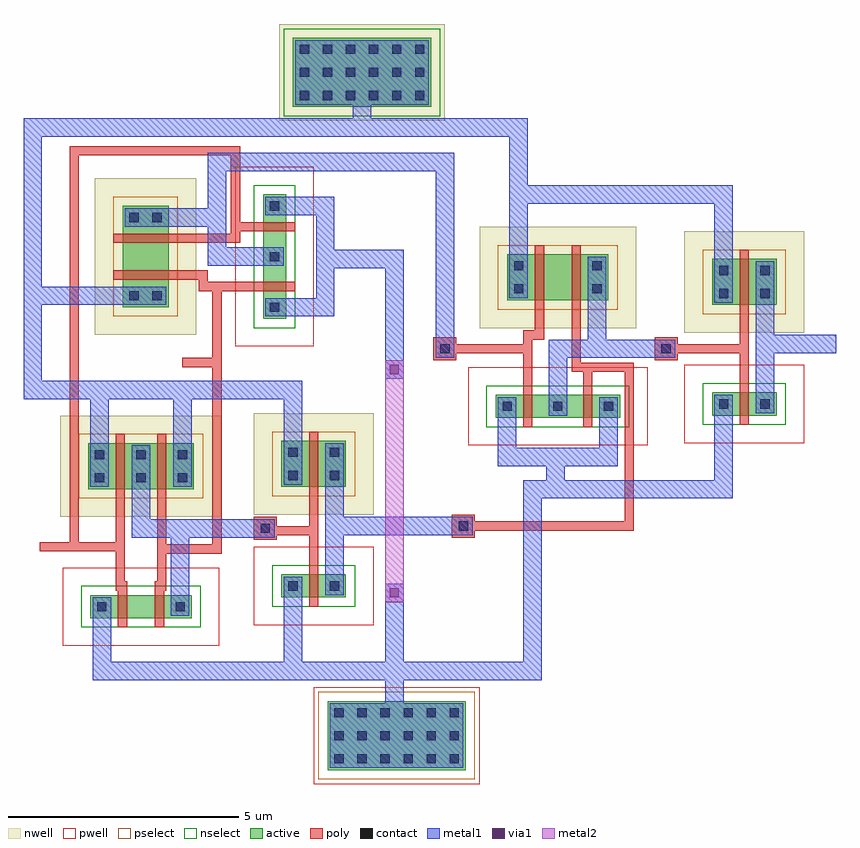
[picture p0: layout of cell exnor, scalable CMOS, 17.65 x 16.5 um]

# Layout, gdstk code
from math import pi, radians
import gdstk
lib = gdstk.Library(unit=1e-6, precision=1e-09)
def R(c, l, rs):  # rectangles x0, y0, x1, y1
    for r in rs: c.add(gdstk.rectangle(r[:2], r[2:], *l))
def A(c, l, x, y, w, h, nx, ny, dx, dy):  # array of equal rectangles
    R(c, l, [(x+i*dx, y+j*dy, x+i*dx+w, y+j*dy+h) for i in range(nx) for j in range(ny)])
contact = (25, 0)
pwell = (41, 0)
nwell = (42, 0)
active = (43, 0)
pselect = (44, 0)
nselect = (45, 0)
poly = (46, 0)
metal1 = (49, 0)
via1 = (50, 0)
metal2 = (51, 0)

inv = lib.new_cell('Inv')
R(inv, contact, [(-0.55,-2.1,-0.35,-1.9), (0.35,-2.1,0.55,-1.9), (-0.55,0.3,-0.35,0.5), (0.35,0.3,0.55,0.5), (-0.55,0.8,-0.35,1), (0.35,0.8,0.55,1)])
R(inv, pwell, [(-1.3,-2.85,0.4,-1.15), (-1,-2.85,1,-1.15), (-0.4,-2.85,1.3,-1.15), (-1.2,-2.75,0.375,-1.25), (-0.375,-2.75,1.2,-1.25)])
R(inv, nwell, [(-1.3,-0.45,0.4,1.75), (-1,-0.45,1,1.75), (-0.4,-0.45,1.3,1.75), (-1.2,-0.1,0.375,1.4), (-0.375,-0.1,1.2,1.4)])
R(inv, active, [(-0.7,-2.25,-0.2,-1.75), (-0.4,-2.25,0.4,-1.75), (0.2,-2.25,0.7,-1.75), (-0.6,-2.15,-0.225,-1.85), (0.225,-2.15,0.6,-1.85), (-0.7,0.15,-0.2,1.15), (-0.4,0.15,0.4,1.15), (0.2,0.15,0.7,1.15), (-0.6,0.5,-0.225,0.8), (0.225,0.5,0.6,0.8)])
R(inv, pselect, [(-0.9,-0.05,0,1.35), (-0.6,-0.05,0.6,1.35), (0,-0.05,0.9,1.35), (-0.8,0.3,-0.025,1), (0.025,0.3,0.8,1)])
R(inv, nselect, [(-0.9,-2.45,0,-1.55), (-0.6,-2.45,0.6,-1.55), (0,-2.45,0.9,-1.55), (-0.8,-2.35,-0.025,-1.65), (0.025,-2.35,0.8,-1.65)])
R(inv, poly, [(-0.1,-2.45,0.1,-1.55), (-0.1,-1.65,0.1,-0.7), (-0.9,-0.9,0.1,-0.7), (-0.1,-0.9,0.1,0.05), (-0.1,-0.05,0.1,1.35)])
R(inv, metal1, [(-0.65,-3.35,-0.25,-1.8), (-0.65,-2.2,-0.25,-1.8), (0.25,-2.2,0.65,-1.8), (0.25,-2.2,0.65,-0.5), (0.25,-0.9,0.65,0.85), (0.25,-0.9,1,-0.5), (-0.65,0.2,-0.25,1.1), (0.25,0.2,0.65,1.1), (-0.65,0.45,-0.25,2.1)])

and_ = lib.new_cell('and')
A(and_, contact, -1, 0.65, 0.2, 0.2, 3, 2, 0.9, 0.5)
R(and_, contact, [(-0.95,-2.15,-0.75,-1.95), (0.75,-2.15,0.95,-1.95), (2.6,-0.45,2.8,-0.25)])
R(and_, pwell, [(-1.7,-2.9,0,-1.2), (-1.4,-2.9,0.6,-1.2), (-0.6,-2.9,1.4,-1.2), (0,-2.9,1.7,-1.2), (-0.775,-2.8,0.775,-1.3), (0.025,-2.8,1.65,-1.3), (-1.6,-2.75,-0.025,-1.25)])
A(and_, nwell, -1.75, -0.1, 1.7, 2.2, 3, 1, 0.9, 0)
R(and_, nwell, [(-1.45,-0.1,0.55,2.1), (-0.55,-0.1,1.45,2.1), (-1.65,0.25,-0.075,1.75), (-0.825,0.25,0.8,1.75), (-0.7,0.25,0.825,1.75), (0.075,0.25,1.65,1.75)])
A(and_, active, -1.15, 0.5, 0.5, 1, 3, 1, 0.9, 0)
R(and_, active, [(-1.1,-2.3,-0.6,-1.8), (-0.8,-2.3,0,-1.8), (0,-2.3,0.8,-1.8), (0.6,-2.3,1.1,-1.8), (-0.175,-2.2,0.175,-1.9), (0.625,-2.2,1.05,-1.9), (-1,-2.15,-0.625,-1.85), (-0.85,0.5,-0.05,1.5), (0.05,0.5,0.85,1.5), (-1.05,0.85,-0.675,1.15), (-0.225,0.85,0.2,1.15), (-0.1,0.85,0.225,1.15), (0.675,0.85,1.05,1.15)])
A(and_, pselect, -1.35, 0.3, 0.9, 1.4, 3, 1, 0.9, 0)
R(and_, pselect, [(-1.05,0.3,0.15,1.7), (-0.15,0.3,1.05,1.7), (-1.25,0.65,-0.475,1.35), (-0.425,0.65,0.4,1.35), (-0.3,0.65,0.425,1.35), (0.475,0.65,1.25,1.35)])
R(and_, nselect, [(-1.3,-2.5,-0.4,-1.6), (-1,-2.5,0.2,-1.6), (-0.2,-2.5,1,-1.6), (0.4,-2.5,1.3,-1.6), (-0.375,-2.4,0.375,-1.7), (0.425,-2.4,1.25,-1.7), (-1.2,-2.35,-0.425,-1.65)])
R(and_, poly, [(-0.5,-2.5,-0.3,-1.6), (0.3,-2.5,0.5,-1.6), (-0.55,-1.7,-0.3,-1.5), (-0.55,-1.7,-0.35,-0.65), (0.3,-1.7,0.55,-1.5), (0.35,-1.7,0.55,-0.7), (0.35,-0.9,0.55,0.4), (0.35,-0.9,1.4,-0.7), (-1,-0.85,-0.35,-0.65), (-0.55,-0.85,-0.35,0.4), (2.45,-0.6,2.95,-0.1), (2.55,-0.5,3.05,-0.3), (-0.55,0.3,-0.35,1.7), (0.35,0.3,0.55,1.7)])
A(and_, metal1, -1.1, 0.55, 0.4, 0.9, 3, 1, 0.9, 0)
R(and_, metal1, [(-1.05,-3.65,3.5,-3.25), (-1.05,-3.65,-0.65,-1.85), (3.1,-3.65,3.5,-2.55), (3.1,-3.65,4.05,-3.25), (-1.05,-2.25,-0.65,-1.85), (0.65,-2.25,1.05,-1.85), (0.65,-2.25,1.05,-0.15), (-0.2,-0.55,0.2,1.2), (-0.2,-0.55,1.05,-0.15), (0.65,-0.55,1.7,-0.15), (1.3,-0.55,2.85,-0.15), (2.5,-0.55,2.9,-0.15), (4.35,-0.5,4.9,-0.1), (-1.1,0.8,-0.7,2.85), (0.7,0.8,1.1,2.85), (3.1,2.1,3.5,2.85), (-1.5,2.45,-0.7,2.85), (-1.1,2.45,1.1,2.85), (0.7,2.45,3.5,2.85), (3.1,2.45,3.5,2.85)])
and_.add(gdstk.Reference(inv, (3.75,0.4)))

nor = lib.new_cell('nor')
A(nor, contact, -1.2, -1.9, 0.2, 0.2, 3, 1, 1.1, 0)
R(nor, contact, [(-0.95,0.65,-0.75,0.85), (0.75,0.65,0.95,0.85), (-0.95,1.15,-0.75,1.35), (0.75,1.15,0.95,1.35)])
A(nor, pwell, -1.95, -2.65, 1.7, 1.7, 3, 1, 1.1, 0)
R(nor, pwell, [(-1.65,-2.65,0.35,-0.95), (-0.35,-2.65,1.65,-0.95), (-1.85,-2.55,-0.275,-1.05), (-1.025,-2.55,0.75,-1.05), (-0.75,-2.55,1.025,-1.05), (0.275,-2.55,1.85,-1.05)])
R(nor, nwell, [(-1.7,-0.1,0,2.1), (-1.4,-0.1,0.6,2.1), (-0.6,-0.1,1.4,2.1), (0,-0.1,1.7,2.1), (0.025,0.2,1.65,1.7), (-1.6,0.25,-0.025,1.75), (-0.775,0.25,0.775,1.75)])
A(nor, active, -1.35, -2.05, 0.5, 0.5, 3, 1, 1.1, 0)
R(nor, active, [(-1.05,-2.05,-0.25,-1.55), (0.25,-2.05,1.05,-1.55), (-1.25,-1.95,-0.875,-1.65), (-0.425,-1.95,0.15,-1.65), (-0.15,-1.95,0.425,-1.65), (0.875,-1.95,1.25,-1.65), (-1.1,0.5,-0.6,1.5), (-0.8,0.5,0,1.5), (0,0.5,0.8,1.5), (0.6,0.5,1.1,1.5), (0.625,0.8,1.05,1.1), (-1,0.85,-0.625,1.15), (-0.175,0.85,0.175,1.15)])
R(nor, pselect, [(-1.3,0.3,-0.4,1.7), (-1,0.3,0.2,1.7), (-0.2,0.3,1,1.7), (0.4,0.3,1.3,1.7), (0.425,0.6,1.25,1.3), (-1.2,0.65,-0.425,1.35), (-0.375,0.65,0.375,1.35)])
A(nor, nselect, -1.55, -2.25, 0.9, 0.9, 3, 1, 1.1, 0)
R(nor, nselect, [(-1.25,-2.25,-0.05,-1.35), (0.05,-2.25,1.25,-1.35), (-1.45,-2.15,-0.675,-1.45), (-0.625,-2.15,0.35,-1.45), (-0.35,-2.15,0.625,-1.45), (0.675,-2.15,1.45,-1.45)])
R(nor, poly, [(-0.75,-2.25,-0.55,-1.35), (0.55,-2.25,0.75,-1.35), (-0.75,-1.45,-0.55,-0.45), (0.55,-1.45,0.75,-0.85), (0.3,-1.05,0.5,0.4), (0.3,-1.05,0.75,-0.85), (0.55,-1.05,1.15,-0.85), (-1.2,-0.65,-0.55,-0.45), (-0.75,-0.65,-0.55,-0.15), (-0.75,-0.35,-0.3,-0.15), (-0.5,-0.35,-0.3,0.4), (-0.5,0.3,-0.3,1.7), (0.3,0.3,0.5,1.7)])
A(nor, metal1, -1.3, -2, 0.4, 0.4, 3, 1, 1.1, 0)
R(nor, metal1, [(-0.25,-3.4,0.15,-2.7), (-1.3,-3.1,-0.9,-2.65), (-1.3,-3.1,0.15,-2.7), (-0.25,-3.1,1.3,-2.7), (0.9,-3.1,1.3,-1.6), (-1.3,-3.05,-0.9,-1.6), (-0.2,-2,0.2,-0.35), (-0.2,-0.75,1.05,-0.35), (0.65,-0.75,1.05,-0.35), (0.65,-0.75,1.05,1.2), (0.65,-0.75,1.6,-0.35), (-1.05,0.55,-0.65,1.45), (0.65,0.55,1.05,1.45), (-1.05,0.8,-0.65,2.6)])

c_or = lib.new_cell('or')
R(c_or, contact, [(-0.05,-0.1,0.15,0.1)])
R(c_or, poly, [(-1.35,-0.5,-0.65,-0.3), (-0.2,-0.25,0.3,0.25), (-3.5,-0.1,-3.3,0.1), (-0.05,-0.1,1.05,0.1)])
R(c_or, metal1, [(-3.05,-3.25,-2.15,-2.85), (-2.55,-3.25,-2.15,-2.45), (-2.55,-3.25,1.5,-2.85), (1.1,-3.25,1.5,-2.15), (-1.1,-0.2,0.25,0.2), (-0.15,-0.2,0.25,0.2), (2.35,-0.1,2.8,0.3), (1.1,2.5,1.5,3.55), (-3.35,2.75,-2.95,3.55), (-3.35,3.15,-2.95,3.8), (-3.35,3.15,1.5,3.55)])
c_or.add(gdstk.Reference(inv, (1.75,0.8)))
c_or.add(gdstk.Reference(nor, (-2.3,0.55)))

exnor = lib.new_cell('exnor')
A(exnor, contact, -1.85, -9, 0.2, 0.2, 6, 3, 0.5, 0.5)
A(exnor, contact, -2.6, 5.4, 0.2, 0.2, 6, 3, 0.5, 0.5)
R(exnor, contact, [(0.85,-3.95,1.05,-3.75), (0.45,-0.1,0.65,0.1)])
R(exnor, pwell, [(-2.3,-9.45,1.3,-7.35)])
R(exnor, nwell, [(-3.05,4.95,0.55,7.05)])
R(exnor, active, [(-2,-9.15,1,-7.65), (-2.75,5.25,0.25,6.75)])
R(exnor, pselect, [(-2.2,-9.35,1.2,-7.45)])
R(exnor, nselect, [(-2.95,5.05,0.45,6.95)])
R(exnor, poly, [(-4.85,-4.45,-4.3,-4.25), (-4.5,-4.45,-4.3,-0.2), (-8.25,-4.4,-7.4,-4.2), (-7.6,-4.4,-7.4,4.4), (-7.6,-4.4,-6.85,-4.2), (0.7,-4.1,1.2,-3.6), (0.85,-3.95,4.65,-3.75), (4.45,-3.95,4.65,-0.3), (-5.15,-0.4,-4.3,-0.2), (-4.5,-0.4,-4.3,1), (0.3,-0.25,0.8,0.25), (0.45,-0.1,2,0.1), (-4.1,2.95,-3.9,4.4), (-7.6,4.2,-3.9,4.4)])
R(exnor, metal1, [(-1.95,-9.1,0.95,-7.7), (-0.75,-8.6,-0.35,-6.8), (-2.4,-7.2,-2,-6.8), (-2.4,-7.2,-0.35,-6.8), (-0.75,-7.2,-0.35,-5.1), (-0.75,-7.2,2.65,-6.8), (2.25,-7.2,2.65,-6.65), (2.25,-7.05,2.65,-2.85), (-0.75,-5.5,-0.35,-5.1), (-1.55,-4.05,1.15,-3.65), (0.75,-4.05,1.15,-3.65), (0.75,-4.05,1.15,-3.65), (0.75,-4.05,1.15,-3.65), (-8.6,-1.1,-7.15,-0.7), (-8.6,-1.1,-8.2,1.35), (-0.75,-0.65,-0.35,-0.25), (-0.75,-0.65,-0.35,2.15), (0.35,-0.2,0.75,0.2), (0.35,-0.2,0.75,4.25), (7.7,-0.1,9.05,0.3), (-8.6,0.95,-7.15,1.35), (-8.6,0.95,-8.2,5), (-1.95,1.75,-0.35,2.15), (-4.6,3.2,-4.2,4.25), (1.95,3.4,2.35,5), (-4.6,3.85,0.65,4.25), (0.25,3.85,0.75,4.25), (-8.6,4.6,-1.05,5), (-1.45,4.6,2.35,5), (-1.45,4.6,-1.05,5.95), (-2.7,5.3,0.2,6.7)])
R(exnor, via1, [(-0.65,-5.4,-0.45,-5.2), (-0.65,-0.55,-0.45,-0.35)])
R(exnor, metal2, [(-0.75,-5.5,-0.35,-5.1), (-0.75,-5.5,-0.35,-0.25), (-0.75,-0.65,-0.35,-0.25)])
exnor.add(gdstk.Reference(and_, (-6.05,-3.55)))
exnor.add(gdstk.Reference(nor, (-4.95,2), rotation=pi/2))
exnor.add(gdstk.Reference(c_or, (5.3,0)))

lib.write_gds('exnor.gds')
